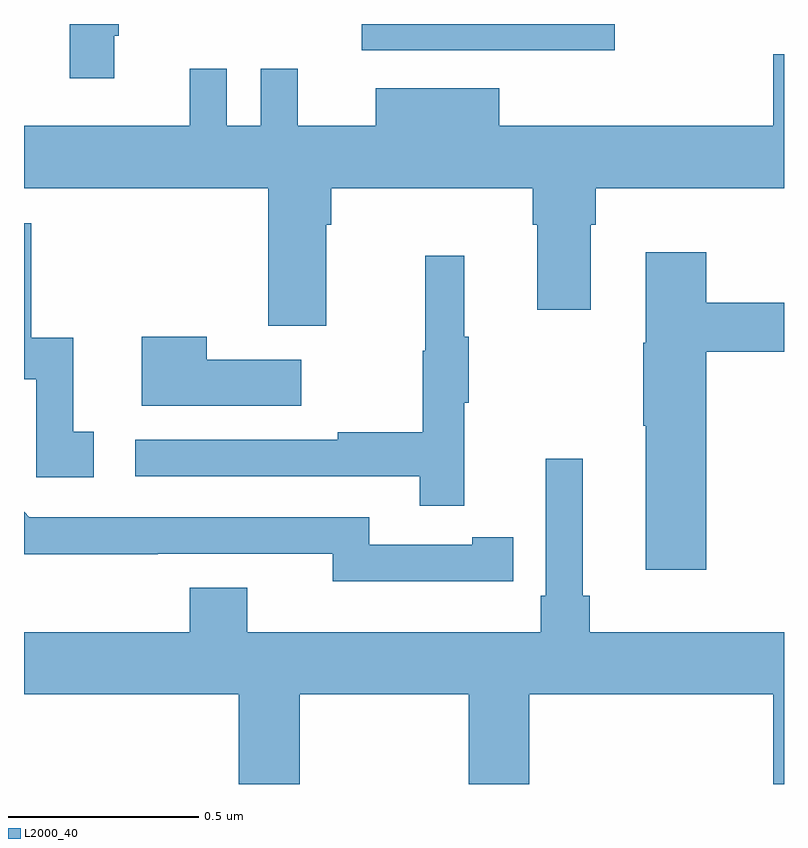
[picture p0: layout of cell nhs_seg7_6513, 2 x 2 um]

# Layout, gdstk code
import gdstk
lib = gdstk.Library(unit=1e-6, precision=1e-09)
def R(c, l, rs):  # rectangles x0, y0, x1, y1
    for r in rs: c.add(gdstk.rectangle(r[:2], r[2:], *l))
def P(c, l, *ps):  # polygons
    for p in ps: c.add(gdstk.Polygon(p, *l))
L2000_40 = (2000, 40)

nhs_seg7_6513 = lib.new_cell('nhs_seg7_6513')
R(nhs_seg7_6513, L2000_40, [(199.889,1048.931,200.554,1049)])
P(nhs_seg7_6513, L2000_40, [(199.238,1048.969),(199.249,1048.969),(199.249,1049),(199.12,1049),(199.12,1048.857),(199.238,1048.857)],
  [(199.795,1048.472),(199.808,1048.472),(199.808,1048.568),(200.339,1048.568),(200.339,1048.472),(200.351,1048.472),(200.351,1048.248),(200.491,1048.248),(200.491,1048.472),(200.504,1048.472),(200.504,1048.568),(201,1048.568),(201,1048.921),(200.972,1048.921),(200.972,1048.732),(200.251,1048.732),(200.251,1048.831),(199.925,1048.831),(199.925,1048.732),(199.721,1048.732),(199.721,1048.882),(199.623,1048.882),(199.623,1048.732),(199.533,1048.732),(199.533,1048.882),(199.436,1048.882),(199.436,1048.732),(199,1048.732),(199,1048.568),(199.643,1048.568),(199.643,1048.206),(199.795,1048.206)],
  [(199.183,1047.927),(199.13,1047.927),(199.13,1048.174),(199.019,1048.174),(199.019,1048.476),(199,1048.476),(199,1048.065),(199.032,1048.065),(199.032,1047.807),(199.183,1047.807)],
  [(200.795,1048.138),(201,1048.138),(201,1048.267),(200.795,1048.267),(200.795,1048.399),(200.636,1048.399),(200.636,1048.161),(200.629,1048.161),(200.629,1047.943),(200.636,1047.943),(200.636,1047.564),(200.795,1047.564)],
  [(200.159,1048.003),(200.17,1048.003),(200.17,1048.177),(200.159,1048.177),(200.159,1048.39),(200.056,1048.39),(200.056,1048.14),(200.049,1048.14),(200.049,1047.926),(199.825,1047.926),(199.825,1047.906),(199.293,1047.906),(199.293,1047.81),(200.041,1047.81),(200.041,1047.732),(200.159,1047.732)],
  [(199.729,1048.117),(199.481,1048.117),(199.481,1048.177),(199.31,1048.177),(199.31,1047.995),(199.729,1047.995)],
  [(199.725,1047.236),(200.17,1047.236),(200.17,1047),(200.33,1047),(200.33,1047.236),(200.972,1047.236),(200.972,1047),(201,1047),(201,1047.4),(200.489,1047.4),(200.489,1047.496),(200.47,1047.496),(200.47,1047.856),(200.373,1047.856),(200.373,1047.496),(200.36,1047.496),(200.36,1047.4),(199.588,1047.4),(199.588,1047.517),(199.436,1047.517),(199.436,1047.4),(199,1047.4),(199,1047.236),(199.565,1047.236),(199.565,1047),(199.725,1047)],
  [(200.18,1047.534),(200.288,1047.534),(200.288,1047.65),(200.18,1047.65),(200.18,1047.63),(199.908,1047.63),(199.908,1047.702),(199.014,1047.702),(199,1047.716),(199,1047.605),(199.352,1047.605),(199.352,1047.606),(199.812,1047.606),(199.812,1047.533),(200.18,1047.533)])

lib.write_gds('nhs_seg7_6513.gds')
